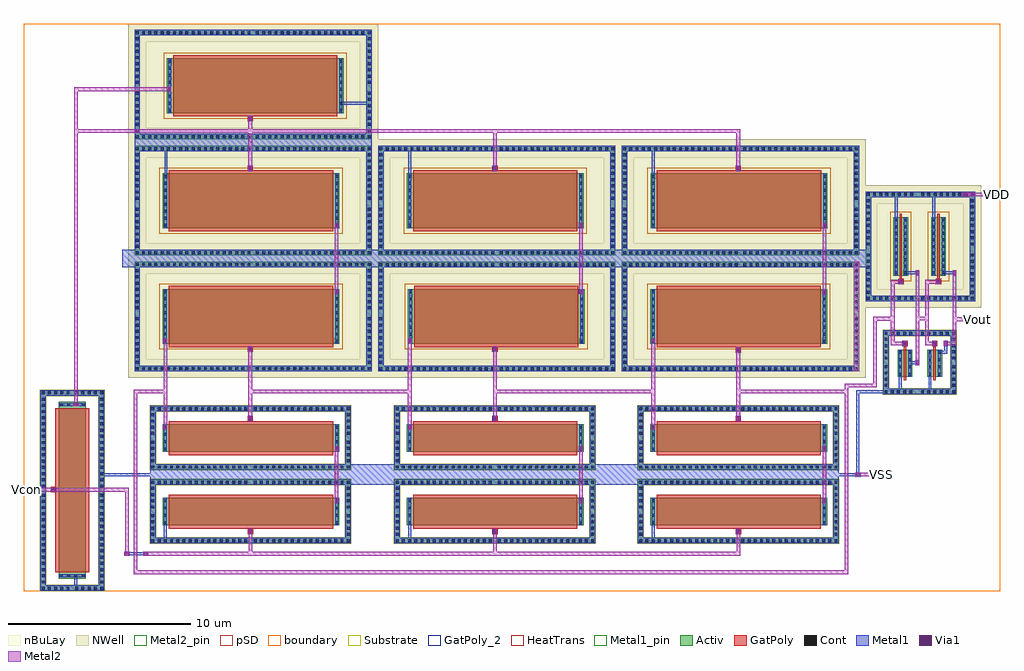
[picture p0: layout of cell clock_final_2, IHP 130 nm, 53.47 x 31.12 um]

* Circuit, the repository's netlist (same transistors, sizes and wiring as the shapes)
** sch_path: /foss/designs/clock_final_2.sch
.subckt clock_final_2 Vdd Vcon Vss Vout
*.PININFO Vdd:B Vcon:B Vss:B Vout:B
M2 net1 Vcon Vss n_bulk sg13_lv_nmos w=1.5u l=9u ng=1 m=1
M3 net10 net1 Vdd p_bulk sg13_lv_pmos w=3u l=9u ng=1 m=1
M4 net3 net2 net10 p_bulk sg13_lv_pmos w=3u l=9u ng=1 m=1
M5 net3 net2 net5 n_bulk sg13_lv_nmos w=1.5u l=9u ng=1 m=1
M6 net5 Vcon Vss n_bulk sg13_lv_nmos w=1.5u l=9u ng=1 m=1
M7 net11 net1 Vdd p_bulk sg13_lv_pmos w=3u l=9u ng=1 m=1
M8 net4 net3 net11 p_bulk sg13_lv_pmos w=3u l=9u ng=1 m=1
M9 net4 net3 net8 n_bulk sg13_lv_nmos w=1.5u l=9u ng=1 m=1
M10 net8 Vcon Vss n_bulk sg13_lv_nmos w=1.5u l=9u ng=1 m=1
M11 net6 net1 Vdd p_bulk sg13_lv_pmos w=3u l=9u ng=1 m=1
M12 net2 net4 net6 p_bulk sg13_lv_pmos w=3u l=9u ng=1 m=1
M13 net2 net4 net7 n_bulk sg13_lv_nmos w=1.5u l=9u ng=1 m=1
M14 net7 Vcon Vss n_bulk sg13_lv_nmos w=1.5u l=9u ng=1 m=1
M1 Vdd net1 net1 p_bulk sg13_lv_pmos w=3u l=9u ng=1 m=1
M24 Vout net9 Vss n_bulk sg13_lv_nmos w=1.5u l=0.13u ng=1 m=1
M25 net9 net2 Vdd p_bulk sg13_lv_pmos w=3.2u l=0.13u ng=1 m=1
M26 net9 net2 Vss n_bulk sg13_lv_nmos w=1.5u l=0.13u ng=1 m=1
M15 Vout net9 Vdd p_bulk sg13_lv_pmos w=3.2u l=0.13u ng=1 m=1
R1 Vss n_bulk ptap1 A=8.34e-12 P=5.56e-05
R13 Vdd p_bulk ntap1 A=6.84e-12 P=4.56e-05
R2 Vss n_bulk ptap1 A=8.34e-12 P=5.56e-05
R3 Vss n_bulk ptap1 A=8.34e-12 P=5.56e-05
R5 Vss n_bulk ptap1 A=8.34e-12 P=5.56e-05
R6 Vss n_bulk ptap1 A=8.34e-12 P=5.56e-05
R14 Vss n_bulk ptap1 A=8.34e-12 P=5.56e-05
R15 Vss n_bulk ptap1 A=8.34e-12 P=5.56e-05
R16 Vss n_bulk ptap1 A=4.14e-12 P=2.76e-05
R4 Vdd p_bulk ntap1 A=1.104e-11 P=7.36e-05
R7 Vdd p_bulk ntap1 A=1.104e-11 P=7.36e-05
R8 Vdd p_bulk ntap1 A=1.104e-11 P=7.36e-05
R9 Vdd p_bulk ntap1 A=1.104e-11 P=7.36e-05
R10 Vdd p_bulk ntap1 A=1.104e-11 P=7.36e-05
R11 Vdd p_bulk ntap1 A=1.104e-11 P=7.36e-05
R12 Vdd p_bulk ntap1 A=1.104e-11 P=7.36e-05
.ends

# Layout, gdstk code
from math import pi, radians
import gdstk
lib = gdstk.Library(unit=1e-6, precision=1e-09)
def R(c, l, rs):  # rectangles x0, y0, x1, y1
    for r in rs: c.add(gdstk.rectangle(r[:2], r[2:], *l))
def A(c, l, x, y, w, h, nx, ny, dx, dy):  # array of equal rectangles
    R(c, l, [(x+i*dx, y+j*dy, x+i*dx+w, y+j*dy+h) for i in range(nx) for j in range(ny)])
def P(c, l, *ps):  # polygons
    for p in ps: c.add(gdstk.Polygon(p, *l))
Activ = (1, 0)
GatPoly = (5, 0)
GatPoly_2 = (5, 2)
Cont = (6, 0)
Metal1 = (8, 0)
Metal1_pin = (8, 2)
Metal2 = (10, 0)
Metal2_pin = (10, 2)
pSD = (14, 0)
Via1 = (19, 0)
NWell = (31, 0)
nBuLay = (32, 0)
Substrate = (40, 0)
HeatTrans = (51, 0)
boundary = (189, 4)

pmos_3 = lib.new_cell('pmos$3')
R(pmos_3, Activ, [(0,0,0.3,0.3), (0,0,9.68,3), (9.38,0,9.68,0.3)])
R(pmos_3, GatPoly, [(0.34,-0.18,9.34,3.18), (0.34,-0.18,9.34,3.18)])
A(pmos_3, Cont, 0.07, 0.07, 0.16, 0.16, 1, 7, 0, 0.385)
A(pmos_3, Cont, 9.45, 0.07, 0.16, 0.16, 1, 7, 0, 0.385)
R(pmos_3, Cont, [(0.07,2.77,0.23,2.93), (9.45,2.77,9.61,2.93)])
R(pmos_3, Metal1, [(0.07,0,0.23,3), (0.07,0,0.23,3), (9.45,0,9.61,3), (9.45,0,9.61,3)])
R(pmos_3, pSD, [(-0.18,-0.3,9.86,3.3)])
R(pmos_3, NWell, [(-0.31,-0.31,9.99,3.31)])
R(pmos_3, Substrate, [(9.38,0,9.68,0.3)])
R(pmos_3, HeatTrans, [(0.34,-0.18,9.34,3.18)])
pmos_3.add(gdstk.Label('pmos', (4.84,1.5), layer=63, texttype=0))
pmos_3.add(gdstk.Label('pmos', (4.84,1.5), layer=51, texttype=0))

guard_ring = lib.new_cell('guard_ring')
R(guard_ring, Activ, [(-3,-6.2,-2.7,6.2), (2.7,-6.2,3,6.2), (-3,6.2,3,6.5)])
P(guard_ring, Activ, [(-3,-6.5),(-3,6.2),(-2.7,6.2),(-2.7,-6.2),(2.7,-6.2),(2.7,6.2),(-3,6.2),(-3,6.5),(3,6.5),(3,-6.5)])
A(guard_ring, Cont, -2.93, -6.43, 0.16, 0.16, 8, 2, 0.34, 12.7)
A(guard_ring, Cont, 0.05, -6.43, 0.16, 0.16, 9, 2, 0.34, 12.7)
A(guard_ring, Cont, -2.93, -6.09, 0.16, 0.16, 1, 18, 0, 0.34)
A(guard_ring, Cont, 2.77, -6.09, 0.16, 0.16, 1, 18, 0, 0.34)
A(guard_ring, Cont, -2.93, 0.15, 0.16, 0.16, 1, 18, 0, 0.34)
A(guard_ring, Cont, 2.77, 0.15, 0.16, 0.16, 1, 18, 0, 0.34)
R(guard_ring, Metal1, [(-3,-6.5,3,-6.2), (-3,-6.2,-2.7,6.2), (2.7,-6.2,3,6.2), (-3,6.2,3,6.5)])
R(guard_ring, NWell, [(-3.35,-6.85,3.35,6.85)])
R(guard_ring, nBuLay, [(-3.35,-5.85,-2.35,5.85), (2.35,-5.85,3.35,5.85), (-3.35,5.85,3.35,6.85)])
P(guard_ring, nBuLay, [(-3.35,-6.85),(-3.35,5.85),(-2.35,5.85),(-2.35,-5.85),(2.35,-5.85),(2.35,5.85),(-3.35,5.85),(-3.35,6.85),(3.35,6.85),(3.35,-6.85)])
guard_ring.add(gdstk.Label('well', (0,-6.35), layer=63, texttype=0))

nmos = lib.new_cell('nmos')
R(nmos, Activ, [(0,0,0.3,0.3), (0,0,9.68,1.5), (9.38,0,9.68,0.3)])
R(nmos, GatPoly, [(0.34,-0.18,9.34,1.68)])
R(nmos, GatPoly_2, [(0.34,-0.18,9.34,1.68)])
A(nmos, Cont, 0.07, 0.07, 0.16, 0.16, 1, 4, 0, 0.4)
A(nmos, Cont, 9.45, 0.07, 0.16, 0.16, 1, 4, 0, 0.4)
R(nmos, Metal1, [(0.07,0,0.23,1.5), (9.45,0,9.61,1.5)])
R(nmos, Metal1_pin, [(0.07,0,0.23,1.5), (9.45,0,9.61,1.5)])
R(nmos, HeatTrans, [(0.34,-0.18,9.34,1.68)])
nmos.add(gdstk.Label('nmos', (4.84,0.75), layer=63, texttype=0))
nmos.add(gdstk.Label('nmos', (4.84,0.75), layer=51, texttype=0))

guard_ring_2 = lib.new_cell('guard_ring$2')
R(guard_ring_2, Activ, [(-1.75,-5.2,-1.45,5.2), (1.45,-5.2,1.75,5.2), (-1.75,5.2,1.75,5.5)])
P(guard_ring_2, Activ, [(-1.75,-5.5),(-1.75,5.2),(-1.45,5.2),(-1.45,-5.2),(1.45,-5.2),(1.45,5.2),(-1.75,5.2),(-1.75,5.5),(1.75,5.5),(1.75,-5.5)])
A(guard_ring_2, Cont, -1.68, -5.43, 0.16, 0.16, 5, 2, 0.34, 10.7)
A(guard_ring_2, Cont, 0.16, -5.43, 0.16, 0.16, 5, 2, 0.34, 10.7)
A(guard_ring_2, Cont, -1.68, -5.09, 0.16, 0.16, 1, 15, 0, 0.34)
A(guard_ring_2, Cont, 1.52, -5.09, 0.16, 0.16, 1, 15, 0, 0.34)
A(guard_ring_2, Cont, -1.68, 0.17, 0.16, 0.16, 1, 15, 0, 0.34)
A(guard_ring_2, Cont, 1.52, 0.17, 0.16, 0.16, 1, 15, 0, 0.34)
R(guard_ring_2, Metal1, [(-1.75,-5.5,1.75,-5.2), (-1.75,-5.2,-1.45,5.2), (1.45,-5.2,1.75,5.2), (-1.75,5.2,1.75,5.5)])
R(guard_ring_2, pSD, [(-1.78,-5.17,-1.42,5.17), (1.42,-5.17,1.78,5.17), (-1.78,5.17,1.78,5.53)])
P(guard_ring_2, pSD, [(-1.78,-5.53),(-1.78,5.17),(-1.42,5.17),(-1.42,-5.17),(1.42,-5.17),(1.42,5.17),(-1.78,5.17),(-1.78,5.53),(1.78,5.53),(1.78,-5.53)])
R(guard_ring_2, Substrate, [(-1.78,-5.17,-1.42,5.17), (1.42,-5.17,1.78,5.17), (-1.78,5.17,1.78,5.53)])
P(guard_ring_2, Substrate, [(-1.78,-5.53),(-1.78,5.17),(-1.42,5.17),(-1.42,-5.17),(1.42,-5.17),(1.42,5.17),(-1.78,5.17),(-1.78,5.53),(1.78,5.53),(1.78,-5.53)])
guard_ring_2.add(gdstk.Label('sub!', (0,-5.35), layer=63, texttype=0))

nmos_1 = lib.new_cell('nmos$1')
R(nmos_1, Activ, [(0,0,0.3,0.3), (0,0,0.81,1.5), (0.51,0,0.81,0.3)])
R(nmos_1, GatPoly, [(0.34,-0.18,0.47,1.68)])
R(nmos_1, GatPoly_2, [(0.34,-0.18,0.47,1.68)])
A(nmos_1, Cont, 0.07, 0.07, 0.16, 0.16, 1, 4, 0, 0.4)
A(nmos_1, Cont, 0.58, 0.07, 0.16, 0.16, 1, 4, 0, 0.4)
R(nmos_1, Metal1, [(0.07,0,0.23,1.5), (0.58,0,0.74,1.5)])
R(nmos_1, Metal1_pin, [(0.07,0,0.23,1.5), (0.58,0,0.74,1.5)])
R(nmos_1, HeatTrans, [(0.34,-0.18,0.47,1.68)])
nmos_1.add(gdstk.Label('nmos', (0.405,0.75), layer=63, texttype=0))
nmos_1.add(gdstk.Label('nmos', (0.405,0.75), layer=51, texttype=0))

guard_ring_1 = lib.new_cell('guard_ring$1')
R(guard_ring_1, Activ, [(-2,-1.45,-1.7,1.45), (1.7,-1.45,2,1.45), (-2,1.45,2,1.75)])
P(guard_ring_1, Activ, [(-2,-1.75),(-2,1.45),(-1.7,1.45),(-1.7,-1.45),(1.7,-1.45),(1.7,1.45),(-2,1.45),(-2,1.75),(2,1.75),(2,-1.75)])
A(guard_ring_1, Cont, -1.93, -1.68, 0.16, 0.16, 5, 2, 0.34, 3.2)
A(guard_ring_1, Cont, 0.07, -1.68, 0.16, 0.16, 6, 2, 0.34, 3.2)
A(guard_ring_1, Cont, -1.93, -1.34, 0.16, 0.16, 1, 4, 0, 0.34)
A(guard_ring_1, Cont, 1.77, -1.34, 0.16, 0.16, 1, 4, 0, 0.34)
A(guard_ring_1, Cont, -1.93, 0.16, 0.16, 0.16, 1, 4, 0, 0.34)
A(guard_ring_1, Cont, 1.77, 0.16, 0.16, 0.16, 1, 4, 0, 0.34)
R(guard_ring_1, Metal1, [(-2,-1.75,2,-1.45), (-2,-1.45,-1.7,1.45), (1.7,-1.45,2,1.45), (-2,1.45,2,1.75)])
R(guard_ring_1, pSD, [(-2.03,-1.42,-1.67,1.42), (1.67,-1.42,2.03,1.42), (-2.03,1.42,2.03,1.78)])
P(guard_ring_1, pSD, [(-2.03,-1.78),(-2.03,1.42),(-1.67,1.42),(-1.67,-1.42),(1.67,-1.42),(1.67,1.42),(-2.03,1.42),(-2.03,1.78),(2.03,1.78),(2.03,-1.78)])
R(guard_ring_1, Substrate, [(-2.03,-1.42,-1.67,1.42), (1.67,-1.42,2.03,1.42), (-2.03,1.42,2.03,1.78)])
P(guard_ring_1, Substrate, [(-2.03,-1.78),(-2.03,1.42),(-1.67,1.42),(-1.67,-1.42),(1.67,-1.42),(1.67,1.42),(-2.03,1.42),(-2.03,1.78),(2.03,1.78),(2.03,-1.78)])
guard_ring_1.add(gdstk.Label('sub!', (0,-1.6), layer=63, texttype=0))

via_stack_1 = lib.new_cell('via_stack$1')
R(via_stack_1, Metal1, [(-0.145,-0.105,0.145,0.105)])
R(via_stack_1, Metal2, [(-0.145,-0.1,0.145,0.1)])
R(via_stack_1, Via1, [(-0.095,-0.095,0.095,0.095)])

pmos = lib.new_cell('pmos')
R(pmos, Activ, [(0,0,0.3,0.3), (0,0,9.68,3), (9.38,0,9.68,0.3)])
R(pmos, GatPoly, [(0.34,-0.18,9.34,3.18), (0.34,-0.18,9.34,3.18)])
A(pmos, Cont, 0.07, 0.07, 0.16, 0.16, 1, 7, 0, 0.385)
A(pmos, Cont, 9.45, 0.07, 0.16, 0.16, 1, 7, 0, 0.385)
R(pmos, Cont, [(0.07,2.77,0.23,2.93), (9.45,2.77,9.61,2.93)])
R(pmos, Metal1, [(0.07,0,0.23,3), (0.07,0,0.23,3), (9.45,0,9.61,3), (9.45,0,9.61,3)])
R(pmos, pSD, [(-0.18,-0.3,9.86,3.3)])
R(pmos, NWell, [(-0.31,-0.31,9.99,3.31)])
R(pmos, Substrate, [(9.38,0,9.68,0.3)])
R(pmos, HeatTrans, [(0.34,-0.18,9.34,3.18)])
pmos.add(gdstk.Label('pmos', (4.84,1.5), layer=63, texttype=0))
pmos.add(gdstk.Label('pmos', (4.84,1.5), layer=51, texttype=0))

pmos_1 = lib.new_cell('pmos$1')
R(pmos_1, Activ, [(0,0,0.3,0.3), (0,0,0.81,3.2), (0.51,0,0.81,0.3)])
R(pmos_1, GatPoly, [(0.34,-0.18,0.47,3.38), (0.34,-0.18,0.47,3.38)])
R(pmos_1, Cont, [(0.07,0.07,0.23,0.23), (0.58,0.07,0.74,0.23), (0.07,0.43,0.23,0.59), (0.58,0.43,0.74,0.59), (0.07,0.795,0.23,0.955), (0.58,0.795,0.74,0.955), (0.07,1.155,0.23,1.315), (0.58,1.155,0.74,1.315), (0.07,1.52,0.23,1.68), (0.58,1.52,0.74,1.68), (0.07,1.88,0.23,2.04), (0.58,1.88,0.74,2.04), (0.07,2.245,0.23,2.405), (0.58,2.245,0.74,2.405), (0.07,2.605,0.23,2.765), (0.58,2.605,0.74,2.765), (0.07,2.97,0.23,3.13), (0.58,2.97,0.74,3.13)])
R(pmos_1, Metal1, [(0.07,0,0.23,3.2), (0.07,0,0.23,3.2), (0.58,0,0.74,3.2), (0.58,0,0.74,3.2)])
R(pmos_1, pSD, [(-0.18,-0.3,0.99,3.5)])
R(pmos_1, NWell, [(-0.31,-0.31,1.12,3.51)])
R(pmos_1, Substrate, [(0.51,0,0.81,0.3)])
R(pmos_1, HeatTrans, [(0.34,-0.18,0.47,3.38)])
pmos_1.add(gdstk.Label('pmos', (0.405,1.6), layer=63, texttype=0))
pmos_1.add(gdstk.Label('pmos', (0.405,1.6), layer=51, texttype=0))

guard_ring_12 = lib.new_cell('guard_ring$12')
R(guard_ring_12, Activ, [(-3,-2.7,-2.7,2.7), (2.7,-2.7,3,2.7), (-3,2.7,3,3)])
P(guard_ring_12, Activ, [(-3,-3),(-3,2.7),(-2.7,2.7),(-2.7,-2.7),(2.7,-2.7),(2.7,2.7),(-3,2.7),(-3,3),(3,3),(3,-3)])
A(guard_ring_12, Cont, -2.93, -2.93, 0.16, 0.16, 8, 2, 0.34, 5.7)
A(guard_ring_12, Cont, 0.05, -2.93, 0.16, 0.16, 9, 2, 0.34, 5.7)
A(guard_ring_12, Cont, -2.93, -2.59, 0.16, 0.16, 1, 7, 0, 0.34)
A(guard_ring_12, Cont, 2.77, -2.59, 0.16, 0.16, 1, 7, 0, 0.34)
A(guard_ring_12, Cont, -2.93, 0.05, 0.16, 0.16, 1, 8, 0, 0.34)
A(guard_ring_12, Cont, 2.77, 0.05, 0.16, 0.16, 1, 8, 0, 0.34)
R(guard_ring_12, Metal1, [(-3,-3,3,-2.7), (-3,-2.7,-2.7,2.7), (2.7,-2.7,3,2.7), (-3,2.7,3,3)])
R(guard_ring_12, NWell, [(-3.35,-3.35,3.35,3.35)])
R(guard_ring_12, nBuLay, [(-3.35,-2.35,-2.35,2.35), (2.35,-2.35,3.35,2.35), (-3.35,2.35,3.35,3.35)])
P(guard_ring_12, nBuLay, [(-3.35,-3.35),(-3.35,2.35),(-2.35,2.35),(-2.35,-2.35),(2.35,-2.35),(2.35,2.35),(-3.35,2.35),(-3.35,3.35),(3.35,3.35),(3.35,-3.35)])
guard_ring_12.add(gdstk.Label('well', (0,-2.85), layer=63, texttype=0))

via_stack = lib.new_cell('via_stack')
R(via_stack, GatPoly, [(-0.15,-0.15,0.15,0.15)])
R(via_stack, Cont, [(-0.08,-0.08,0.08,0.08)])
R(via_stack, Metal1, [(-0.145,-0.105,0.145,0.105)])
R(via_stack, Metal2, [(-0.145,-0.1,0.145,0.1)])
R(via_stack, Via1, [(-0.095,-0.095,0.095,0.095)])

via_stack_3 = lib.new_cell('via_stack$3')
R(via_stack_3, Metal1, [(-0.35,-0.105,0.35,0.105)])
R(via_stack_3, Metal2, [(-0.35,-0.1,0.35,0.1)])
R(via_stack_3, Via1, [(-0.3,-0.095,-0.11,0.095), (0.11,-0.095,0.3,0.095)])

clock_final_2 = lib.new_cell('clock_final_2')
R(clock_final_2, GatPoly, [(12.255,3.145,12.555,3.535), (25.645,3.145,25.945,3.535), (38.985,3.145,39.285,3.535), (1.47,5.425,1.805,5.725), (12.245,9.24,12.545,9.63), (25.645,9.24,25.945,9.63), (38.98,9.24,39.28,9.63), (38.98,13.085,39.28,13.475), (25.645,13.14,25.945,13.53), (12.245,13.145,12.545,13.535), (49.825,13.325,49.955,13.735), (48.195,13.345,48.325,13.735), (12.245,22.94,12.545,23.33), (25.645,22.94,25.945,23.33), (38.98,22.94,39.28,23.33), (12.245,25.76,12.545,26.14)])
R(clock_final_2, Metal1, [(6.91,5.84,44.635,6.97), (5.38,17.76,45.73,18.715), (45.155,17.765,46.405,18.715), (6.055,24.115,19.055,25.065)])
P(clock_final_2, Metal1, [(13.21,30.74),(13.21,30.74),(13.21,30.74),(13.21,30.74)])
R(clock_final_2, Metal2, [(45.46,12.06,45.76,18.06)])
R(clock_final_2, Metal2_pin, [(46.365,6.3,47.355,6.5), (52.645,21.655,53.47,21.855)])
R(clock_final_2, boundary, [(0,0,53.47,31.115)])
clock_final_2.add(gdstk.FlexPath([(52.105,21.755),(46.105,21.755)], 0.16, ends="flush", simple_path=True, layer=8, datatype=0))  # Metal1
clock_final_2.add(gdstk.FlexPath([(44.455,6.4),(45.765,6.4)], 0.16, ends="flush", simple_path=True, layer=8, datatype=0))  # Metal1
clock_final_2.add(gdstk.FlexPath([(7.78,19.905),(7.78,24.345)], 0.16, ends="flush", simple_path=True, layer=8, datatype=0))  # Metal1
clock_final_2.add(gdstk.FlexPath([(21.13,19.905),(21.13,24.345)], 0.16, ends="flush", simple_path=True, layer=8, datatype=0))  # Metal1
clock_final_2.add(gdstk.FlexPath([(34.48,19.905),(34.48,24.345)], 0.16, ends="flush", simple_path=True, layer=8, datatype=0))  # Metal1
clock_final_2.add(gdstk.FlexPath([(7.745,5.125),(7.745,2.64)], 0.16, ends="flush", simple_path=True, layer=8, datatype=0))  # Metal1
clock_final_2.add(gdstk.FlexPath([(21.13,5.125),(21.13,2.64)], 0.16, ends="flush", simple_path=True, layer=8, datatype=0))  # Metal1
clock_final_2.add(gdstk.FlexPath([(34.47,5.125),(34.47,2.64)], 0.16, ends="flush", simple_path=True, layer=8, datatype=0))  # Metal1
clock_final_2.add(gdstk.FlexPath([(17.275,26.745),(19.055,26.745)], 0.16, ends="flush", simple_path=True, layer=8, datatype=0))  # Metal1
clock_final_2.add(gdstk.FlexPath([(2.845,0.94),(2.845,0.03)], 0.16, ends="flush", simple_path=True, layer=8, datatype=0))  # Metal1
clock_final_2.add(gdstk.FlexPath([(47.645,10.95),(45.685,10.95),(45.685,6.33)], 0.16, ends="flush", simple_path=True, layer=8, datatype=0))  # Metal1
clock_final_2.add(gdstk.FlexPath([(7.39,6.405),(4.1,6.405)], 0.16, ends="flush", simple_path=True, layer=8, datatype=0))  # Metal1
clock_final_2.add(gdstk.FlexPath([(49.05,12.535),(48.435,12.535),(48.435,12.535)], 0.16, ends="flush", simple_path=True, layer=8, datatype=0))  # Metal1
clock_final_2.add(gdstk.FlexPath([(50.49,13.73),(50.49,13.105),(50.065,13.105)], 0.16, ends="flush", simple_path=True, layer=8, datatype=0))  # Metal1
clock_final_2.add(gdstk.FlexPath([(51.085,17.45),(50.275,17.45),(50.275,17.45)], 0.16, ends="flush", simple_path=True, layer=8, datatype=0))  # Metal1
clock_final_2.add(gdstk.FlexPath([(49.055,17.45),(48.21,17.45)], 0.16, ends="flush", simple_path=True, layer=8, datatype=0))  # Metal1
clock_final_2.add(gdstk.FlexPath([(49.845,20.27),(49.845,21.905)], 0.16, ends="flush", simple_path=True, layer=8, datatype=0))  # Metal1
clock_final_2.add(gdstk.FlexPath([(47.78,20.27),(47.78,21.905)], 0.16, ends="flush", simple_path=True, layer=8, datatype=0))  # Metal1
clock_final_2.add(gdstk.FlexPath([(48.005,11.985),(48.005,10.8)], 0.16, ends="flush", simple_path=True, layer=8, datatype=0))  # Metal1
clock_final_2.add(gdstk.FlexPath([(49.635,11.985),(49.635,10.8)], 0.16, ends="flush", simple_path=True, layer=8, datatype=0))  # Metal1
clock_final_2.add(gdstk.FlexPath([(6.815,2.065),(5.55,2.065)], 0.16, ends="flush", simple_path=True, layer=8, datatype=0))  # Metal1
clock_final_2.add(gdstk.FlexPath([(23.835,12.215),(19.47,12.215)], 0.16, ends="flush", simple_path=True, layer=8, datatype=0))  # Metal1
clock_final_2.add(gdstk.FlexPath([(45.605,12.06),(45.605,24.415)], 0.16, ends="flush", simple_path=True, layer=8, datatype=0))  # Metal1
clock_final_2.add(gdstk.FlexPath([(51.405,21.755),(53.47,21.755)], 0.2, ends="flush", simple_path=True, layer=10, datatype=0))  # Metal2
clock_final_2.add(gdstk.FlexPath([(45.54,6.4),(47.355,6.4)], 0.2, ends="flush", simple_path=True, layer=10, datatype=0))  # Metal2
clock_final_2.add(gdstk.FlexPath([(43.86,20.2),(43.86,16.265)], 0.2, ends="flush", simple_path=True, layer=10, datatype=0))  # Metal2
clock_final_2.add(gdstk.FlexPath([(30.51,16.27),(30.51,20.2)], 0.2, ends="flush", simple_path=True, layer=10, datatype=0))  # Metal2
clock_final_2.add(gdstk.FlexPath([(17.125,16.275),(17.125,20.2)], 0.2, ends="flush", simple_path=True, layer=10, datatype=0))  # Metal2
clock_final_2.add(gdstk.FlexPath([(21.13,13.86),(21.13,8.86)], 0.2, ends="flush", simple_path=True, layer=10, datatype=0))  # Metal2
clock_final_2.add(gdstk.FlexPath([(34.47,13.86),(34.47,8.86)], 0.2, ends="flush", simple_path=True, layer=10, datatype=0))  # Metal2
clock_final_2.add(gdstk.FlexPath([(7.745,13.865),(7.745,8.925),(7.745,8.925)], 0.2, ends="flush", simple_path=True, layer=10, datatype=0))  # Metal2
clock_final_2.add(gdstk.FlexPath([(43.85,7.95),(43.85,4.835)], 0.2, ends="flush", simple_path=True, layer=10, datatype=0))  # Metal2
clock_final_2.add(gdstk.FlexPath([(30.51,7.95),(30.51,4.83)], 0.2, ends="flush", simple_path=True, layer=10, datatype=0))  # Metal2
clock_final_2.add(gdstk.FlexPath([(17.125,7.95),(17.125,4.83)], 0.2, ends="flush", simple_path=True, layer=10, datatype=0))  # Metal2
clock_final_2.add(gdstk.FlexPath([(12.395,23.035),(12.395,25.235),(39.13,25.235),(39.13,23.035)], 0.2, ends="flush", simple_path=True, layer=10, datatype=0))  # Metal2
clock_final_2.add(gdstk.FlexPath([(25.795,23.035),(25.795,25.335)], 0.2, ends="flush", simple_path=True, layer=10, datatype=0))  # Metal2
clock_final_2.add(gdstk.FlexPath([(12.405,3.44),(12.405,2.26),(12.405,2.065),(39.135,2.065),(39.135,3.44)], 0.2, ends="flush", simple_path=True, layer=10, datatype=0))  # Metal2
clock_final_2.add(gdstk.FlexPath([(25.795,3.44),(25.795,1.965)], 0.2, ends="flush", simple_path=True, layer=10, datatype=0))  # Metal2
clock_final_2.add(gdstk.FlexPath([(39.13,13.38),(39.13,9.335)], 0.2, ends="flush", simple_path=True, layer=10, datatype=0))  # Metal2
clock_final_2.add(gdstk.FlexPath([(25.795,13.435),(25.795,9.335)], 0.2, ends="flush", simple_path=True, layer=10, datatype=0))  # Metal2
clock_final_2.add(gdstk.FlexPath([(12.395,13.44),(12.395,9.335)], 0.2, ends="flush", simple_path=True, layer=10, datatype=0))  # Metal2
clock_final_2.add(gdstk.FlexPath([(12.295,10.96),(21.23,10.96),(21.23,10.96)], 0.2, ends="flush", simple_path=True, layer=10, datatype=0))  # Metal2
clock_final_2.add(gdstk.FlexPath([(1.765,5.575),(0,5.575)], 0.2, ends="flush", simple_path=True, layer=10, datatype=0))  # Metal2
clock_final_2.add(gdstk.FlexPath([(25.695,10.96),(34.57,10.96)], 0.2, ends="flush", simple_path=True, layer=10, datatype=0))  # Metal2
clock_final_2.add(gdstk.FlexPath([(12.395,26.055),(12.395,25.135),(12.395,25.135)], 0.2, ends="flush", simple_path=True, layer=10, datatype=0))  # Metal2
clock_final_2.add(gdstk.FlexPath([(39.03,10.96),(45.065,10.96),(45.065,1.05),(6.105,1.05),(6.105,10.96),(7.845,10.96)], 0.2, ends="flush", simple_path=True, layer=10, datatype=0))  # Metal2
clock_final_2.add(gdstk.FlexPath([(48.135,16.97),(47.595,16.97),(47.595,13.585),(48.36,13.585)], 0.2, ends="flush", simple_path=True, layer=10, datatype=0))  # Metal2
clock_final_2.add(gdstk.FlexPath([(50.98,17.595),(50.98,13.585),(50.39,13.585)], 0.2, ends="flush", simple_path=True, layer=10, datatype=0))  # Metal2
clock_final_2.add(gdstk.FlexPath([(49.995,13.585),(49.47,13.585),(49.47,16.97),(50.2,16.97)], 0.2, ends="flush", simple_path=True, layer=10, datatype=0))  # Metal2
clock_final_2.add(gdstk.FlexPath([(48.945,12.39),(48.945,17.595)], 0.2, ends="flush", simple_path=True, layer=10, datatype=0))  # Metal2
clock_final_2.add(gdstk.FlexPath([(48.845,14.95),(49.57,14.95)], 0.2, ends="flush", simple_path=True, layer=10, datatype=0))  # Metal2
clock_final_2.add(gdstk.FlexPath([(45.065,10.96),(45.065,11.275),(46.615,11.275),(46.615,14.85),(46.615,14.895),(46.615,14.945),(47.695,14.945)], 0.2, ends="flush", simple_path=True, layer=10, datatype=0))  # Metal2
clock_final_2.add(gdstk.FlexPath([(50.88,14.91),(52.53,14.91)], 0.2, ends="flush", simple_path=True, layer=10, datatype=0))  # Metal2
clock_final_2.add(gdstk.FlexPath([(1.475,5.575),(5.74,5.575)], 0.2, ends="flush", simple_path=True, layer=10, datatype=0))  # Metal2
clock_final_2.add(gdstk.FlexPath([(5.64,1.965),(5.64,5.675)], 0.2, ends="flush", simple_path=True, layer=10, datatype=0))  # Metal2
clock_final_2.add(gdstk.FlexPath([(12.555,2.065),(6.525,2.065)], 0.2, ends="flush", simple_path=True, layer=10, datatype=0))  # Metal2
clock_final_2.add(gdstk.FlexPath([(2.845,10.14),(2.845,27.515),(8.075,27.515)], 0.2, ends="flush", simple_path=True, layer=10, datatype=0))  # Metal2
clock_final_2.add(gdstk.FlexPath([(12.295,25.235),(2.745,25.235)], 0.2, ends="flush", simple_path=True, layer=10, datatype=0))  # Metal2
clock_final_2.add(gdstk.FlexPath([(0.405,5.575),(0,5.575)], 0.2, ends="flush", simple_path=True, layer=10, datatype=2))  # Metal2_pin
clock_final_2.add(gdstk.FlexPath([(52.53,14.91),(52.02,14.91)], 0.2, ends="flush", simple_path=True, layer=10, datatype=2))  # Metal2_pin
clock_final_2.add(gdstk.Reference(pmos_3, (30.66,22.905), rotation=pi))
clock_final_2.add(gdstk.Reference(guard_ring, (25.905,21.415), rotation=pi/2))
clock_final_2.add(gdstk.Reference(pmos_3, (17.275,22.905), rotation=pi))
clock_final_2.add(gdstk.Reference(nmos, (17.275,9.155), rotation=pi))
clock_final_2.add(gdstk.Reference(guard_ring_2, (12.41,8.42), rotation=pi/2))
clock_final_2.add(gdstk.Reference(guard_ring, (12.555,21.415), rotation=pi/2))
clock_final_2.add(gdstk.Reference(guard_ring_2, (2.65,5.53)))
clock_final_2.add(gdstk.Reference(guard_ring_2, (12.41,4.39), rotation=pi/2))
clock_final_2.add(gdstk.Reference(pmos_3, (44.01,22.905), rotation=pi))
clock_final_2.add(gdstk.Reference(nmos, (17.275,5.125), rotation=pi))
clock_final_2.add(gdstk.Reference(nmos, (30.66,9.155), rotation=pi))
clock_final_2.add(gdstk.Reference(guard_ring_2, (25.795,8.42), rotation=pi/2))
clock_final_2.add(gdstk.Reference(guard_ring, (12.555,15.065), rotation=3*pi/2))
clock_final_2.add(gdstk.Reference(guard_ring_2, (39.135,8.42), rotation=pi/2))
clock_final_2.add(gdstk.Reference(nmos_1, (47.855,11.755)))
clock_final_2.add(gdstk.Reference(nmos_1, (49.485,11.755)))
clock_final_2.add(gdstk.Reference(guard_ring_1, (49.075,12.55)))
clock_final_2.add(gdstk.Reference(guard_ring, (39.255,21.415), rotation=pi/2))
clock_final_2.add(gdstk.Reference(via_stack_1, (7.745,13.72), rotation=pi/2))
clock_final_2.add(gdstk.Reference(nmos, (3.395,0.71), rotation=pi/2))
clock_final_2.add(gdstk.Reference(via_stack_1, (17.125,4.975), rotation=pi/2))
clock_final_2.add(gdstk.Reference(guard_ring, (25.905,15.06), rotation=3*pi/2))
clock_final_2.add(gdstk.Reference(guard_ring, (12.555,27.765), rotation=pi/2))
clock_final_2.add(gdstk.Reference(pmos_3, (17.505,29.205), rotation=pi))
clock_final_2.add(gdstk.Reference(pmos, (7.595,13.57)))
clock_final_2.add(gdstk.Reference(pmos, (21.03,13.565)))
clock_final_2.add(gdstk.Reference(pmos_1, (49.695,17.3)))
clock_final_2.add(gdstk.Reference(pmos_1, (47.63,17.3)))
clock_final_2.add(gdstk.Reference(guard_ring_12, (49.105,18.905)))
clock_final_2.add(gdstk.Reference(via_stack_1, (17.125,7.805), rotation=pi/2))
clock_final_2.add(gdstk.Reference(guard_ring_2, (39.135,4.39), rotation=pi/2))
clock_final_2.add(gdstk.Reference(nmos, (44,5.125), rotation=pi))
clock_final_2.add(gdstk.Reference(guard_ring_2, (25.795,4.39), rotation=pi/2))
clock_final_2.add(gdstk.Reference(nmos, (30.66,5.125), rotation=pi))
clock_final_2.add(gdstk.Reference(via_stack_1, (43.86,20.055), rotation=pi/2))
clock_final_2.add(gdstk.Reference(via_stack_1, (30.51,20.055), rotation=pi/2))
clock_final_2.add(gdstk.Reference(via_stack_1, (17.125,20.055), rotation=pi/2))
clock_final_2.add(gdstk.Reference(via_stack_1, (30.51,16.415), rotation=pi/2))
clock_final_2.add(gdstk.Reference(via_stack_1, (17.125,16.42), rotation=pi/2))
clock_final_2.add(gdstk.Reference(via_stack_1, (43.85,16.41), rotation=pi/2))
clock_final_2.add(gdstk.Reference(pmos, (34.32,13.565)))
clock_final_2.add(gdstk.Reference(guard_ring, (39.26,15.06), rotation=3*pi/2))
clock_final_2.add(gdstk.Reference(nmos, (44,9.155), rotation=pi))
clock_final_2.add(gdstk.Reference(via_stack_1, (34.47,9.005), rotation=pi/2))
clock_final_2.add(gdstk.Reference(via_stack_1, (34.47,13.715), rotation=pi/2))
clock_final_2.add(gdstk.Reference(via_stack_1, (21.13,9.005), rotation=pi/2))
clock_final_2.add(gdstk.Reference(via_stack_1, (21.13,13.715), rotation=pi/2))
clock_final_2.add(gdstk.Reference(via_stack_1, (7.745,9.005), rotation=pi/2))
clock_final_2.add(gdstk.Reference(via_stack_1, (30.51,4.975), rotation=pi/2))
clock_final_2.add(gdstk.Reference(via_stack_1, (30.51,7.805), rotation=pi/2))
clock_final_2.add(gdstk.Reference(via_stack_1, (43.85,4.975), rotation=pi/2))
clock_final_2.add(gdstk.Reference(via_stack_1, (43.85,7.805), rotation=pi/2))
clock_final_2.add(gdstk.Reference(via_stack, (39.13,23.18), rotation=pi/2))
clock_final_2.add(gdstk.Reference(via_stack, (25.795,23.18), rotation=pi/2))
clock_final_2.add(gdstk.Reference(via_stack, (12.395,23.18), rotation=pi/2))
clock_final_2.add(gdstk.Reference(via_stack, (39.135,3.295), rotation=pi/2))
clock_final_2.add(gdstk.Reference(via_stack, (25.795,3.295), rotation=pi/2))
clock_final_2.add(gdstk.Reference(via_stack, (12.405,3.295), rotation=pi/2))
clock_final_2.add(gdstk.Reference(via_stack, (12.395,13.295), rotation=pi/2))
clock_final_2.add(gdstk.Reference(via_stack, (25.795,13.29), rotation=pi/2))
clock_final_2.add(gdstk.Reference(via_stack, (39.13,13.235), rotation=pi/2))
clock_final_2.add(gdstk.Reference(via_stack, (39.13,9.48), rotation=pi/2))
clock_final_2.add(gdstk.Reference(via_stack, (25.795,9.48), rotation=pi/2))
clock_final_2.add(gdstk.Reference(via_stack, (12.395,9.48), rotation=pi/2))
clock_final_2.add(gdstk.Reference(via_stack, (1.62,5.575), rotation=pi))
clock_final_2.add(gdstk.Reference(via_stack_1, (7.975,27.515), rotation=3*pi/2))
clock_final_2.add(gdstk.Reference(via_stack_1, (2.845,10.24)))
clock_final_2.add(gdstk.Reference(via_stack_1, (48.95,17.45), rotation=pi/2))
clock_final_2.add(gdstk.Reference(via_stack_1, (48.945,12.535), rotation=pi/2))
clock_final_2.add(gdstk.Reference(via_stack_1, (50.98,17.45), rotation=pi/2))
clock_final_2.add(gdstk.Reference(via_stack_1, (50.49,13.585), rotation=pi/2))
clock_final_2.add(gdstk.Reference(via_stack, (48.26,13.585), rotation=pi/2))
clock_final_2.add(gdstk.Reference(via_stack, (49.895,13.585), rotation=3*pi/2))
clock_final_2.add(gdstk.Reference(via_stack, (50.1,16.97), rotation=pi/2))
clock_final_2.add(gdstk.Reference(via_stack_1, (6.67,2.065), rotation=pi))
clock_final_2.add(gdstk.Reference(via_stack, (48.035,16.97), rotation=pi/2))
clock_final_2.add(gdstk.Reference(via_stack_1, (5.64,2.065), rotation=pi))
clock_final_2.add(gdstk.Reference(via_stack, (12.395,25.91), rotation=pi/2))
clock_final_2.add(gdstk.Reference(via_stack_3, (51.755,21.755), rotation=pi))
clock_final_2.add(gdstk.Reference(via_stack_1, (45.685,6.4), rotation=pi))
clock_final_2.add(gdstk.Label('VDD', (53.29,21.755), layer=10, texttype=2))
clock_final_2.add(gdstk.Label('VSS', (46.955,6.4), layer=10, texttype=2))
clock_final_2.add(gdstk.Label('Vcon', (0.16,5.585), layer=10, texttype=2))
clock_final_2.add(gdstk.Label('Vout', (52.24,14.89), layer=10, texttype=2))

lib.write_gds('clock_final_2.gds')
